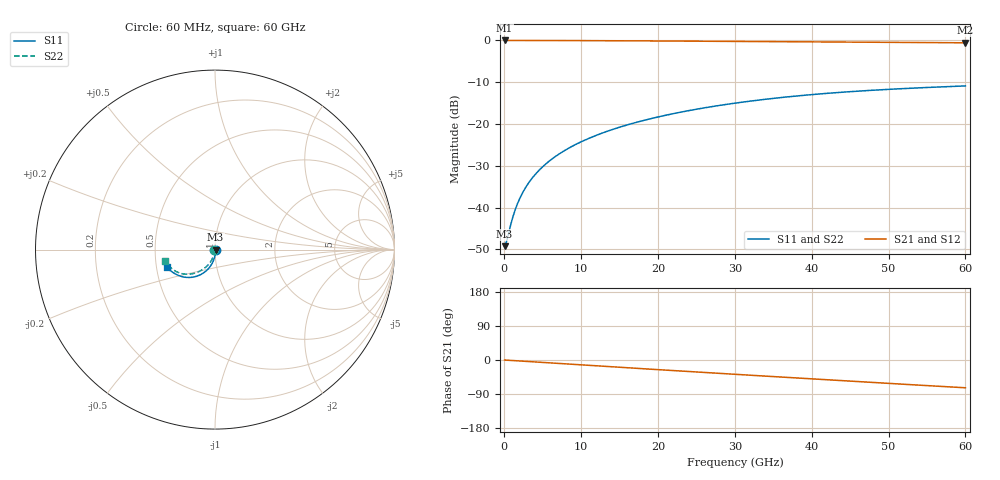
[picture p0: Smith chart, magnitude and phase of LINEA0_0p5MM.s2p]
! TOUCHSTONE file generated by CST MICROWAVE STUDIO
! Date and time: Tue Oct 13 15:42:55 2026
! Project name: LINEA0_0.5MM.cst
! Parameters = {GAP=0.00415; L=0.5; L1=0.02; L2=0.086; L3=0.066; NCELL=1; PITCH=0.18; START_POSITION=0.08; W1=0.003; W2=0.004; W3=0.009; WG=0.04985; gap_oxr=0.00125; linbo3_thickness=0.0002; mtx=0.002; oxiDinE=0.0014; w=0.15; ws=0.035}
! Header version: 2024
! Port assignment regex: !\s*Touchstone port\s*([0-9]+)\s*=\s*(CST MWS port|CST DES external port|CST DES block port)\s*(.+)\s* \(\"(.*)\"\)(\s*mode\s*([0-9]+))?.*
! Touchstone port assignment:
! Touchstone port 1 = CST MWS port 1 ("")
! Touchstone port 2 = CST MWS port 2 ("")
# GHz S MA R 50
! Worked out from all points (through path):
!   1000 points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, 60 MHz to 60 GHz, reference 50 ohm
!   highest |S21| = -0.03 dB at 60 MHz (marker M1); lowest = -0.6 dB at 60 GHz (marker M2)
!   group delay of S21, straight-line fit = 3.39 ps
!   lowest |S11| = -49.2 dB at 60 MHz (marker M3), VSWR 1.01, Z = 50.3 - j0.0373 ohm
!   |S11| at or under -10 dB: start of sweep to end of sweep
!   |S22| runs from -49.2 to -10.9 dB; largest |S21 - S12| = 2e-07
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0.06  0.003463 -6.1  0.9966 -0.1  0.9966 -0.1  0.003463 -174.0
0.24  0.003742 -23.3  0.9966 -0.3  0.9966 -0.3  0.003742 -157.3
0.36  0.004086 -33.0  0.9965 -0.5  0.9965 -0.5  0.004086 -148.0
1.14  0.007769 -64.9  0.9965 -1.5  0.9965 -1.5  0.007769 -118.0
1.44  0.009447 -70.2  0.9965 -1.9  0.9965 -1.9  0.009447 -113.5
1.74  0.01117 -74.0  0.9964 -2.2  0.9964 -2.2  0.01117 -110.5
2.1  0.01328 -77.3  0.9964 -2.7  0.9964 -2.7  0.01328 -108.1
2.52  0.01577 -80.1  0.9963 -3.2  0.9963 -3.2  0.01577 -106.3
3.42  0.02117 -84.4  0.9961 -4.4  0.9961 -4.4  0.02117 -104.4
4.68  0.02879 -88.3  0.9957 -6.0  0.9957 -6.0  0.02879 -103.8
6.18  0.0379 -91.6  0.995 -8.0  0.995 -8.0  0.0379 -104.3
7.98  0.04885 -94.7  0.994 -10.3  0.994 -10.3  0.04885 -105.8
10.08  0.06162 -97.9  0.9926 -12.9  0.9926 -12.9  0.06162 -107.9
12.18  0.07437 -100.9  0.9909 -15.6  0.9909 -15.6  0.07437 -110.4
14.52  0.08852 -104.0  0.9887 -18.6  0.9887 -18.6  0.08852 -113.2
20.04  0.1215 -111.1  0.9827 -25.5  0.9827 -25.5  0.1215 -119.9
24.78  0.1488 -117.1  0.9771 -31.3  0.9771 -31.3  0.1488 -125.6
30.06  0.1776 -123.9  0.9707 -37.8  0.9707 -37.8  0.1776 -131.7
34.86  0.2016 -130.0  0.965 -43.6  0.965 -43.6  0.2016 -137.1
40.02  0.2245 -136.6  0.9592 -49.8  0.9592 -49.8  0.2245 -143.0
50.04  0.2596 -148.6  0.9473 -61.7  0.9473 -61.7  0.2596 -154.8
60  0.2851 -159.7  0.9343 -73.3  0.9343 -73.3  0.2851 -166.9
